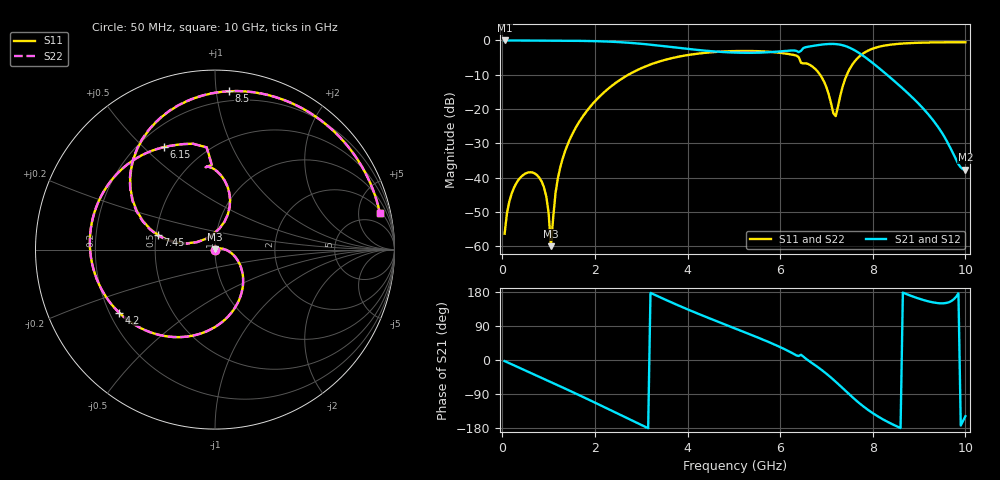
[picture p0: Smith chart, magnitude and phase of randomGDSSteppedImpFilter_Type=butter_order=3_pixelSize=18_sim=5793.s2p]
! freq	dB(S11)	phase(S11)	dB(S12)	phase(S12)
!  dB(S21)	phase(S21)	dB(S22)	phase(S22)
!S-par simulation data
#  GHz  S  DB  R 50
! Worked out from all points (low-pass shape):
!   200 points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, 50 MHz to 10 GHz, reference 50 ohm
!   highest |S21| = -0.01 dB at 50 MHz (marker M1); lowest = -37.6 dB at 10 GHz (marker M2)
!   |S21| within 3 dB of the highest: start of sweep to 4.4 GHz; 6.452 GHz to 7.626 GHz (1.174 GHz wide, 16.7 % of centre) (the widest 2 of 3)
!   lowest |S11| = -59.9 dB at 1.05 GHz (marker M3), VSWR 1.00, Z = 49.9 + j0.0563 ohm
!   |S11| at or under -10 dB: start of sweep to 2.722 GHz; 6.862 GHz to 7.441 GHz (579.3 MHz wide, 8.1 % of centre)
!   |S22| runs from -61.0 to -0.5 dB; largest |S21 - S12| = 0
!   S11 on the Smith chart (normalised r, x): 50 MHz: 1.00, -0.00; 4.2 GHz: 0.24, -0.28; 6.15 GHz: 0.30, +0.58; 7.45 GHz: 0.51, +0.09; 8.5 GHz: 0.13, +1.08; 10 GHz: 2.41, +8.52
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0.05  -56.31 -77.2  -0.01 -2.8  -0.01 -2.8  -56.25 -77.0
0.25  -42.99 -100.9  -0.02 -13.9  -0.02 -13.9  -42.98 -100.9
0.65  -38.47 -126.9  -0.05 -36.0  -0.05 -36.0  -38.48 -126.5
0.95  -45.45 -148.5  -0.06 -52.6  -0.06 -52.6  -45.46 -146.6
1  -50.16 -156.6  -0.06 -55.4  -0.06 -55.4  -50.22 -152.8
1.05  -59.94 145.9  -0.07 -58.2  -0.07 -58.2  -60.97 149.3
1.15  -44.41 32.4  -0.07 -63.8  -0.07 -63.8  -44.46 29.9
1.25  -37.07 23.2  -0.08 -69.4  -0.08 -69.4  -37.08 22.0
1.75  -21.92 -7.8  -0.14 -97.9  -0.14 -97.9  -21.92 -8.1
2.65  -10.57 -61.3  -0.60 -150.8  -0.60 -150.8  -10.57 -61.4
3.4  -6.10 -104.6  -1.54 165.9  -1.54 165.9  -6.10 -104.6
4.2  -3.89 -146.7  -2.75 123.5  -2.75 123.5  -3.89 -146.6
5.05  -3.09 172.4  -3.55 82.1  -3.55 82.1  -3.09 172.5
6.15  -3.90 116.6  -3.01 25.3  -3.01 25.3  -3.90 116.8
6.7  -7.65 85.3  -1.61 -9.1  -1.61 -9.1  -7.65 85.4
7.2  -22.03 131.5  -1.06 -57.4  -1.06 -57.4  -22.14 131.8
7.45  -9.71 165.7  -1.84 -85.8  -1.84 -85.8  -9.71 166.2
7.8  -3.74 135.8  -4.53 -122.7  -4.53 -122.7  -3.74 136.2
8.35  -1.29 94.3  -10.49 -165.1  -10.49 -165.1  -1.29 94.7
8.5  -1.06 85.0  -12.24 -174.0  -12.24 -174.0  -1.06 85.4
9.25  -0.59 45.6  -22.36 153.3  -22.36 153.3  -0.59 45.9
10  -0.53 12.4  -37.63 -148.4  -37.63 -148.4  -0.53 12.6
